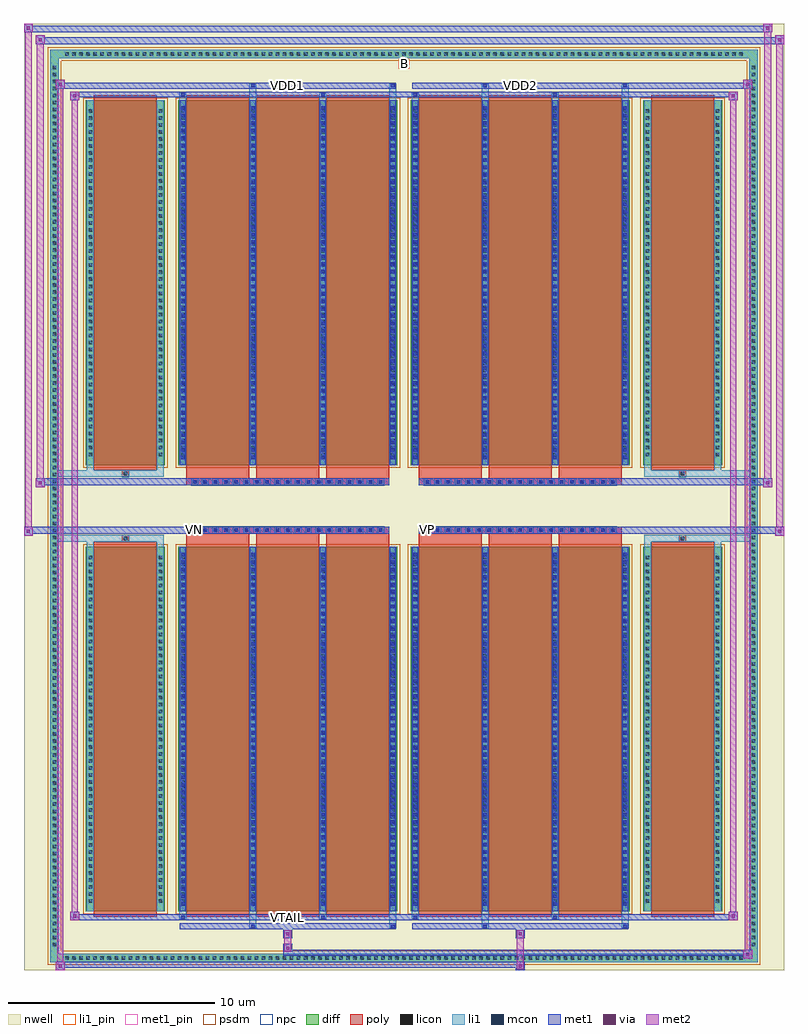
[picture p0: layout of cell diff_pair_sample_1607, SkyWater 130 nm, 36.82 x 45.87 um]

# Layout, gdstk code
import gdstk
lib = gdstk.Library(unit=1e-6, precision=5e-09)
def R(c, l, rs):  # rectangles x0, y0, x1, y1
    for r in rs: c.add(gdstk.rectangle(r[:2], r[2:], *l))
def A(c, l, x, y, w, h, nx, ny, dx, dy):  # array of equal rectangles
    R(c, l, [(x+i*dx, y+j*dy, x+i*dx+w, y+j*dy+h) for i in range(nx) for j in range(ny)])
def P(c, l, *ps):  # polygons
    for p in ps: c.add(gdstk.Polygon(p, *l))
nwell = (64, 20)
diff = (65, 20)
poly = (66, 20)
licon = (66, 44)
li1_pin = (67, 16)
li1 = (67, 20)
mcon = (67, 44)
met1_pin = (68, 16)
met1 = (68, 20)
via = (68, 44)
met2 = (69, 20)
psdm = (94, 20)
npc = (95, 20)

diff_pair_sample_1607 = lib.new_cell('diff_pair_sample_1607')
R(diff_pair_sample_1607, nwell, [(-18.41,-22.5,18.41,23.37), (-15.73,-20.69,-0.01,-0.805), (0.01,-20.69,15.73,-0.805), (-15.73,0.805,-0.01,20.69), (0.01,0.805,15.73,20.69)])
A(diff_pair_sample_1607, diff, -16.525, -22.1, 0.41, 0.41, 97, 2, 0.34, 43.79)
A(diff_pair_sample_1607, diff, -17.14, -21.455, 0.41, 0.41, 1, 126, 0, 0.34)
A(diff_pair_sample_1607, diff, 16.73, -21.455, 0.41, 0.41, 1, 126, 0, 0.34)
R(diff_pair_sample_1607, diff, [(-16.525,-22.1,16.525,-21.69), (-17.14,-21.455,-16.73,21.455), (16.73,-21.455,17.14,21.455), (-15.42,-19.645,-11.58,-1.985), (-10.94,-19.645,-0.32,-1.985), (0.32,-19.645,10.94,-1.985), (11.58,-19.645,15.42,-1.985), (-15.42,1.985,-11.58,19.645), (-10.94,1.985,-0.32,19.645), (0.32,1.985,10.94,19.645), (11.58,1.985,15.42,19.645), (-16.525,21.69,16.525,22.1)])
P(diff_pair_sample_1607, diff, [(17.14,22.1),(-17.14,22.1),(-17.14,-21.69),(-16.73,-21.69),(-16.73,21.69),(16.73,21.69),(16.73,-21.69),(-16.73,-21.69),(-17.14,-21.69),(-17.14,-22.1),(17.14,-22.1)])
A(diff_pair_sample_1607, poly, -10.55, -19.895, 3.06, 18.16, 3, 2, 3.39, 21.63)
A(diff_pair_sample_1607, poly, 0.71, -19.895, 3.06, 18.16, 3, 2, 3.39, 21.63)
A(diff_pair_sample_1607, poly, -10.55, -1.735, 3.06, 0.4, 3, 2, 3.39, 3.07)
A(diff_pair_sample_1607, poly, 0.71, -1.735, 3.06, 0.4, 3, 2, 3.39, 3.07)
A(diff_pair_sample_1607, poly, -10.295, -1.335, 0.33, 0.33, 19, 2, 0.5, 2.34)
A(diff_pair_sample_1607, poly, 0.965, -1.335, 0.33, 0.33, 19, 2, 0.5, 2.34)
R(diff_pair_sample_1607, poly, [(-15.03,-19.895,-11.97,-1.735), (11.97,-19.895,15.03,-1.735), (-13.665,-1.735,-13.335,-1.405), (-13.665,-1.735,-13.335,-1.405), (13.335,-1.735,13.665,-1.405), (13.335,-1.735,13.665,-1.405), (-10.55,-1.335,-0.71,-1.005), (0.71,-1.335,10.55,-1.005), (-10.55,1.005,-0.71,1.335), (0.71,1.005,10.55,1.335), (-13.665,1.405,-13.335,1.735), (-13.665,1.405,-13.335,1.735), (13.335,1.405,13.665,1.735), (13.335,1.405,13.665,1.735), (-15.03,1.735,-11.97,19.895), (11.97,1.735,15.03,19.895)])
A(diff_pair_sample_1607, licon, -16.405, -21.98, 0.17, 0.17, 97, 2, 0.34, 43.79)
A(diff_pair_sample_1607, licon, -17.02, -21.335, 0.17, 0.17, 1, 126, 0, 0.34)
A(diff_pair_sample_1607, licon, 16.85, -21.335, 0.17, 0.17, 1, 126, 0, 0.34)
A(diff_pair_sample_1607, licon, -15.28, -19.23, 0.17, 0.17, 1, 50, 0, 0.34)
A(diff_pair_sample_1607, licon, -11.89, -19.23, 0.17, 0.17, 1, 50, 0, 0.34)
A(diff_pair_sample_1607, licon, -10.8, -19.23, 0.17, 0.17, 4, 50, 3.39, 0.34)
A(diff_pair_sample_1607, licon, 0.46, -19.23, 0.17, 0.17, 4, 50, 3.39, 0.34)
A(diff_pair_sample_1607, licon, 11.72, -19.23, 0.17, 0.17, 1, 50, 0, 0.34)
A(diff_pair_sample_1607, licon, 15.11, -19.23, 0.17, 0.17, 1, 50, 0, 0.34)
A(diff_pair_sample_1607, licon, -10.215, -1.255, 0.17, 0.17, 19, 2, 0.5, 2.34)
A(diff_pair_sample_1607, licon, 1.045, -1.255, 0.17, 0.17, 19, 2, 0.5, 2.34)
A(diff_pair_sample_1607, licon, -15.28, 2.4, 0.17, 0.17, 1, 50, 0, 0.34)
A(diff_pair_sample_1607, licon, -11.89, 2.4, 0.17, 0.17, 1, 50, 0, 0.34)
A(diff_pair_sample_1607, licon, -10.8, 2.4, 0.17, 0.17, 4, 50, 3.39, 0.34)
A(diff_pair_sample_1607, licon, 0.46, 2.4, 0.17, 0.17, 4, 50, 3.39, 0.34)
A(diff_pair_sample_1607, licon, 11.72, 2.4, 0.17, 0.17, 1, 50, 0, 0.34)
A(diff_pair_sample_1607, licon, 15.11, 2.4, 0.17, 0.17, 1, 50, 0, 0.34)
R(diff_pair_sample_1607, licon, [(-13.585,-1.655,-13.415,-1.485), (13.415,-1.655,13.585,-1.485), (-13.585,1.485,-13.415,1.655), (13.415,1.485,13.585,1.655)])
R(diff_pair_sample_1607, li1_pin, [(-0.25,21.19,0.25,21.69)])
A(diff_pair_sample_1607, li1, -16.485, -22.06, 0.33, 0.33, 97, 2, 0.34, 43.79)
A(diff_pair_sample_1607, li1, -17.1, -21.415, 0.33, 0.33, 1, 126, 0, 0.34)
A(diff_pair_sample_1607, li1, 16.77, -21.415, 0.33, 0.33, 1, 126, 0, 0.34)
A(diff_pair_sample_1607, li1, -10.88, -19.645, 0.33, 17.66, 4, 2, 3.39, 21.63)
A(diff_pair_sample_1607, li1, 0.38, -19.645, 0.33, 17.66, 4, 2, 3.39, 21.63)
A(diff_pair_sample_1607, li1, -10.8, -19.36, 0.17, 0.17, 4, 48, 3.39, 0.36)
A(diff_pair_sample_1607, li1, -10.8, -19.36, 0.17, 17.09, 4, 2, 3.39, 21.63)
A(diff_pair_sample_1607, li1, 0.46, -19.36, 0.17, 0.17, 4, 48, 3.39, 0.36)
A(diff_pair_sample_1607, li1, 0.46, -19.36, 0.17, 17.09, 4, 2, 3.39, 21.63)
A(diff_pair_sample_1607, li1, -15.36, -19.31, 0.33, 0.33, 1, 50, 0, 0.34)
A(diff_pair_sample_1607, li1, -11.97, -19.31, 0.33, 0.33, 1, 50, 0, 0.34)
A(diff_pair_sample_1607, li1, -10.88, -19.31, 0.33, 0.33, 4, 50, 3.39, 0.34)
A(diff_pair_sample_1607, li1, 0.38, -19.31, 0.33, 0.33, 4, 50, 3.39, 0.34)
A(diff_pair_sample_1607, li1, 11.64, -19.31, 0.33, 0.33, 1, 50, 0, 0.34)
A(diff_pair_sample_1607, li1, 15.03, -19.31, 0.33, 0.33, 1, 50, 0, 0.34)
A(diff_pair_sample_1607, li1, -10.295, -1.335, 0.33, 0.33, 19, 2, 0.5, 2.34)
A(diff_pair_sample_1607, li1, 0.965, -1.335, 0.33, 0.33, 19, 2, 0.5, 2.34)
A(diff_pair_sample_1607, li1, -10.8, 2.27, 0.17, 0.17, 4, 48, 3.39, 0.36)
A(diff_pair_sample_1607, li1, 0.46, 2.27, 0.17, 0.17, 4, 48, 3.39, 0.36)
A(diff_pair_sample_1607, li1, -15.36, 2.32, 0.33, 0.33, 1, 50, 0, 0.34)
A(diff_pair_sample_1607, li1, -11.97, 2.32, 0.33, 0.33, 1, 50, 0, 0.34)
A(diff_pair_sample_1607, li1, -10.88, 2.32, 0.33, 0.33, 4, 50, 3.39, 0.34)
A(diff_pair_sample_1607, li1, 0.38, 2.32, 0.33, 0.33, 4, 50, 3.39, 0.34)
A(diff_pair_sample_1607, li1, 11.64, 2.32, 0.33, 0.33, 1, 50, 0, 0.34)
A(diff_pair_sample_1607, li1, 15.03, 2.32, 0.33, 0.33, 1, 50, 0, 0.34)
R(diff_pair_sample_1607, li1, [(-17.14,-22.1,-16.73,-21.69), (-17.14,-22.1,-16.73,-21.69), (-16.73,-22.1,16.73,-21.69), (16.73,-22.1,17.14,-21.69), (16.73,-22.1,17.14,-21.69), (-17.14,-21.69,-16.73,21.69), (16.73,-21.69,17.14,21.69), (-7.49,-20.45,-7.16,-19.645), (-7.41,-20.45,-7.24,-20.28), (-0.71,-20.45,-0.38,-19.645), (-0.63,-20.45,-0.46,-20.28), (3.77,-20.45,4.1,-19.645), (3.85,-20.45,4.02,-20.28), (10.55,-20.45,10.88,-19.645), (10.63,-20.45,10.8,-20.28), (-10.88,-20.02,-10.55,-19.645), (-10.8,-20.02,-10.63,-19.85), (-4.1,-20.02,-3.77,-19.645), (-4.02,-20.02,-3.85,-19.85), (0.38,-20.02,0.71,-19.645), (0.46,-20.02,0.63,-19.85), (7.16,-20.02,7.49,-19.645), (7.24,-20.02,7.41,-19.85), (-15.36,-19.645,-15.03,-1.985), (-11.97,-19.645,-11.64,-1.985), (11.64,-19.645,11.97,-1.985), (15.03,-19.645,15.36,-1.985), (-15.36,-1.985,-15.03,-1.405), (-11.97,-1.985,-11.64,-1.405), (11.64,-1.985,11.97,-1.405), (15.03,-1.985,15.36,-1.405), (-17.14,-1.735,-13.665,-1.405), (-15.36,-1.735,-13.665,-1.405), (-13.665,-1.735,-13.335,-1.405), (-13.335,-1.735,-11.64,-1.405), (11.64,-1.735,13.335,-1.405), (13.335,-1.735,13.665,-1.405), (13.335,-1.735,17.14,-1.405), (13.665,-1.735,15.36,-1.405), (-17.14,1.405,-13.665,1.735), (-15.36,1.405,-13.665,1.735), (-15.36,1.405,-15.03,1.985), (-13.665,1.405,-13.335,1.735), (-13.335,1.405,-11.64,1.735), (-11.97,1.405,-11.64,1.985), (11.64,1.405,13.335,1.735), (11.64,1.405,11.97,1.985), (13.335,1.405,13.665,1.735), (13.335,1.405,17.14,1.735), (13.665,1.405,15.36,1.735), (15.03,1.405,15.36,1.985), (-15.36,1.985,-15.03,19.645), (-11.97,1.985,-11.64,19.645), (11.64,1.985,11.97,19.645), (15.03,1.985,15.36,19.645), (-10.88,19.645,-10.55,20.02), (-7.49,19.645,-7.16,20.45), (-4.1,19.645,-3.77,20.02), (-0.71,19.645,-0.38,20.45), (0.38,19.645,0.71,20.02), (3.77,19.645,4.1,20.45), (7.16,19.645,7.49,20.02), (10.55,19.645,10.88,20.45), (-10.8,19.85,-10.63,20.02), (-4.02,19.85,-3.85,20.02), (0.46,19.85,0.63,20.02), (7.24,19.85,7.41,20.02), (-7.41,20.28,-7.24,20.45), (-0.63,20.28,-0.46,20.45), (3.85,20.28,4.02,20.45), (10.63,20.28,10.8,20.45), (-17.14,21.69,-16.73,22.1), (-17.14,21.69,-16.73,22.1), (-16.73,21.69,16.73,22.1), (16.73,21.69,17.14,22.1), (16.73,21.69,17.14,22.1)])
A(diff_pair_sample_1607, mcon, -10.8, -19.36, 0.17, 0.17, 4, 48, 3.39, 0.36)
A(diff_pair_sample_1607, mcon, 0.46, -19.36, 0.17, 0.17, 4, 48, 3.39, 0.36)
A(diff_pair_sample_1607, mcon, -10.215, -1.255, 0.17, 0.17, 19, 2, 0.5, 2.34)
A(diff_pair_sample_1607, mcon, 1.045, -1.255, 0.17, 0.17, 19, 2, 0.5, 2.34)
A(diff_pair_sample_1607, mcon, -10.8, 2.27, 0.17, 0.17, 4, 48, 3.39, 0.36)
A(diff_pair_sample_1607, mcon, 0.46, 2.27, 0.17, 0.17, 4, 48, 3.39, 0.36)
R(diff_pair_sample_1607, mcon, [(-7.41,-20.45,-7.24,-20.28), (-0.63,-20.45,-0.46,-20.28), (3.85,-20.45,4.02,-20.28), (10.63,-20.45,10.8,-20.28), (-10.8,-20.02,-10.63,-19.85), (-4.02,-20.02,-3.85,-19.85), (0.46,-20.02,0.63,-19.85), (7.24,-20.02,7.41,-19.85), (-10.8,19.85,-10.63,20.02), (-4.02,19.85,-3.85,20.02), (0.46,19.85,0.63,20.02), (7.24,19.85,7.41,20.02), (-7.41,20.28,-7.24,20.45), (-0.63,20.28,-0.46,20.45), (3.85,20.28,4.02,20.45), (10.63,20.28,10.8,20.45)])
R(diff_pair_sample_1607, met1_pin, [(-5.765,-20.06,-5.495,-19.79), (-10.265,-1.295,-9.995,-1.025), (0.995,-1.295,1.265,-1.025), (-5.765,20.24,-5.495,20.51), (5.495,20.24,5.765,20.51)])
A(diff_pair_sample_1607, met1, -10.86, -19.645, 0.29, 17.66, 4, 2, 3.39, 21.63)
A(diff_pair_sample_1607, met1, 0.4, -19.645, 0.29, 17.66, 4, 2, 3.39, 21.63)
A(diff_pair_sample_1607, met1, -10.86, -19.42, 0.29, 0.29, 4, 48, 3.39, 0.36)
A(diff_pair_sample_1607, met1, 0.4, -19.42, 0.29, 0.29, 4, 48, 3.39, 0.36)
A(diff_pair_sample_1607, met1, -10.275, -1.315, 0.29, 0.29, 19, 2, 0.5, 2.34)
A(diff_pair_sample_1607, met1, 0.985, -1.315, 0.29, 0.29, 19, 2, 0.5, 2.34)
A(diff_pair_sample_1607, met1, -10.86, 2.21, 0.29, 0.29, 4, 48, 3.39, 0.36)
A(diff_pair_sample_1607, met1, 0.4, 2.21, 0.29, 0.29, 4, 48, 3.39, 0.36)
R(diff_pair_sample_1607, met1, [(-16.87,-22.5,-16.44,-22.07), (5.415,-22.5,5.845,-22.07), (-16.87,-22.36,5.845,-22.07), (16.44,-21.93,16.87,-21.5), (-5.845,-21.79,16.87,-21.5), (-5.845,-21.65,-5.415,-21.22), (-5.845,-20.94,-5.415,-20.51), (5.415,-20.94,5.845,-20.51), (-10.86,-20.51,-0.4,-20.22), (-7.47,-20.51,-7.18,-20.22), (-0.69,-20.51,-0.4,-20.22), (0.4,-20.51,10.86,-20.22), (3.79,-20.51,4.08,-20.22), (10.57,-20.51,10.86,-20.22), (-16.16,-20.08,-15.73,-19.65), (-16.16,-20.08,-10.86,-19.79), (-10.86,-20.08,-10.57,-19.79), (-10.86,-20.08,-0.4,-19.79), (-4.08,-20.08,-3.79,-19.79), (-0.4,-20.08,0.4,-19.79), (0.4,-20.08,0.69,-19.79), (0.4,-20.08,10.86,-19.79), (7.18,-20.08,7.47,-19.79), (10.86,-20.08,16.16,-19.79), (15.73,-20.08,16.16,-19.65), (-18.41,-1.435,-17.98,-1.005), (17.98,-1.435,18.41,-1.005), (-18.41,-1.335,-0.71,-1.005), (-10.55,-1.335,-0.71,-1.005), (0.71,-1.335,10.55,-1.005), (0.71,-1.335,18.41,-1.005), (-17.84,0.905,-17.41,1.335), (17.41,0.905,17.84,1.335), (-17.84,1.005,-10.55,1.335), (-10.55,1.005,-0.71,1.335), (0.71,1.005,10.55,1.335), (10.55,1.005,17.84,1.335), (-16.16,19.65,-15.73,20.08), (15.73,19.65,16.16,20.08), (-16.16,19.79,-10.86,20.08), (-10.86,19.79,-10.57,20.08), (-10.86,19.79,-0.4,20.08), (-4.08,19.79,-3.79,20.08), (-0.4,19.79,0.4,20.08), (0.4,19.79,0.69,20.08), (0.4,19.79,10.86,20.08), (7.18,19.79,7.47,20.08), (10.86,19.79,16.16,20.08), (-16.87,20.22,-16.44,20.65), (-16.87,20.22,-10.86,20.51), (-10.86,20.22,-0.4,20.51), (-7.47,20.22,-7.18,20.51), (-0.69,20.22,-0.4,20.51), (0.4,20.22,10.86,20.51), (3.79,20.22,4.08,20.51), (10.57,20.22,10.86,20.51), (10.86,20.22,16.87,20.51), (16.44,20.22,16.87,20.65), (-17.84,22.37,-17.41,22.8), (-17.84,22.37,-15.73,22.7), (-15.73,22.37,15.73,22.7), (15.73,22.37,18.41,22.7), (17.98,22.37,18.41,22.8), (-18.41,22.94,-17.98,23.37), (-18.41,22.94,-15.73,23.27), (-15.73,22.94,15.73,23.27), (15.73,22.94,17.84,23.27), (17.41,22.94,17.84,23.37)])
R(diff_pair_sample_1607, via, [(-16.73,-22.36,-16.58,-22.21), (5.555,-22.36,5.705,-22.21), (16.58,-21.79,16.73,-21.64), (-5.705,-21.51,-5.555,-21.36), (-5.705,-20.8,-5.555,-20.65), (5.555,-20.8,5.705,-20.65), (-16.02,-19.94,-15.87,-19.79), (15.87,-19.94,16.02,-19.79), (-18.27,-1.295,-18.12,-1.145), (18.12,-1.295,18.27,-1.145), (-17.7,1.045,-17.55,1.195), (17.55,1.045,17.7,1.195), (-16.02,19.79,-15.87,19.94), (15.87,19.79,16.02,19.94), (-16.73,20.36,-16.58,20.51), (16.58,20.36,16.73,20.51), (-17.7,22.51,-17.55,22.66), (18.12,22.51,18.27,22.66), (-18.27,23.08,-18.12,23.23), (17.55,23.08,17.7,23.23)])
R(diff_pair_sample_1607, met2, [(-16.87,-22.5,-16.44,-22.07), (-16.8,-22.5,-16.51,20.65), (-16.51,-22.5,-16.44,-22.07), (-16.82,-22.45,-16.49,-22.12), (5.465,-22.45,5.795,-22.12), (5.465,-22.12,5.795,-20.89), (16.44,-21.93,16.87,-21.5), (16.51,-21.93,16.8,20.65), (16.8,-21.93,16.87,-21.5), (16.49,-21.88,16.82,-21.55), (-5.795,-21.6,-5.465,-21.27), (-5.795,-21.27,-5.465,-20.89), (-5.795,-20.89,-5.465,-20.56), (5.465,-20.89,5.795,-20.56), (-16.16,-20.08,-15.73,-19.65), (-16.09,-20.08,-15.8,20.08), (-15.8,-20.08,-15.73,-19.65), (15.73,-20.08,16.16,-19.65), (15.8,-20.08,16.09,20.08), (16.09,-20.08,16.16,-19.65), (-16.11,-20.03,-15.78,-19.7), (15.78,-20.03,16.11,-19.7), (-18.41,-1.435,-17.98,-1.005), (-18.36,-1.435,-18.03,23.37), (-18.03,-1.435,-17.98,-1.005), (17.98,-1.435,18.41,-1.005), (18.03,-1.435,18.36,22.8), (18.36,-1.435,18.41,-1.005), (-18.36,-1.385,-18.03,-1.055), (18.03,-1.385,18.36,-1.055), (-17.84,0.905,-17.41,1.335), (-17.79,0.905,-17.46,22.8), (-17.46,0.905,-17.41,1.335), (17.41,0.905,17.84,1.335), (17.46,0.905,17.79,23.37), (17.79,0.905,17.84,1.335), (-17.79,0.955,-17.46,1.285), (17.46,0.955,17.79,1.285), (-16.16,19.65,-15.73,20.08), (-15.8,19.65,-15.73,20.08), (15.73,19.65,16.16,20.08), (16.09,19.65,16.16,20.08), (-16.11,19.7,-15.78,20.03), (15.78,19.7,16.11,20.03), (-16.87,20.22,-16.44,20.65), (-16.51,20.22,-16.44,20.65), (16.44,20.22,16.87,20.65), (16.8,20.22,16.87,20.65), (-16.82,20.27,-16.49,20.6), (16.49,20.27,16.82,20.6), (-17.84,22.37,-17.41,22.8), (-17.46,22.37,-17.41,22.8), (17.98,22.37,18.41,22.8), (18.36,22.37,18.41,22.8), (-17.79,22.42,-17.46,22.75), (18.03,22.42,18.36,22.75), (-18.41,22.94,-17.98,23.37), (-18.03,22.94,-17.98,23.37), (17.41,22.94,17.84,23.37), (17.79,22.94,17.84,23.37), (-18.36,22.99,-18.03,23.32), (17.46,22.99,17.79,23.32)])
R(diff_pair_sample_1607, psdm, [(-15.55,-19.775,-11.45,-1.855), (-11.07,-19.775,-0.19,-1.855), (0.19,-19.775,11.07,-1.855), (11.45,-19.775,15.55,-1.855), (-15.55,1.855,-11.45,19.775), (-11.07,1.855,-0.19,19.775), (0.19,1.855,11.07,19.775), (11.45,1.855,15.55,19.775)])
P(diff_pair_sample_1607, psdm, [(17.27,22.23),(-17.27,22.23),(-17.27,-21.56),(-16.6,-21.56),(-16.6,21.56),(16.6,21.56),(16.6,-21.56),(-16.6,-21.56),(-17.27,-21.56),(-17.27,-22.23),(17.27,-22.23)])
A(diff_pair_sample_1607, npc, -10.315, -1.355, 0.37, 0.37, 19, 2, 0.5, 2.34)
A(diff_pair_sample_1607, npc, 0.945, -1.355, 0.37, 0.37, 19, 2, 0.5, 2.34)
R(diff_pair_sample_1607, npc, [(-13.685,-1.755,-13.315,-1.385), (13.315,-1.755,13.685,-1.385), (-10.315,-1.355,-9.445,-0.985), (-10.315,-1.355,-9.445,-0.985), (-9.815,-1.355,-8.945,-0.985), (-9.815,-1.355,-8.945,-0.985), (-9.315,-1.355,-8.445,-0.985), (-9.315,-1.355,-8.445,-0.985), (-8.815,-1.355,-7.945,-0.985), (-8.815,-1.355,-7.945,-0.985), (-8.315,-1.355,-7.445,-0.985), (-8.315,-1.355,-7.445,-0.985), (-7.815,-1.355,-6.945,-0.985), (-7.815,-1.355,-6.945,-0.985), (-7.315,-1.355,-6.445,-0.985), (-7.315,-1.355,-6.445,-0.985), (-6.815,-1.355,-5.945,-0.985), (-6.815,-1.355,-5.945,-0.985), (-6.315,-1.355,-5.445,-0.985), (-6.315,-1.355,-5.445,-0.985), (-5.815,-1.355,-4.945,-0.985), (-5.815,-1.355,-4.945,-0.985), (-5.315,-1.355,-4.445,-0.985), (-5.315,-1.355,-4.445,-0.985), (-4.815,-1.355,-3.945,-0.985), (-4.815,-1.355,-3.945,-0.985), (-4.315,-1.355,-3.445,-0.985), (-4.315,-1.355,-3.445,-0.985), (-3.815,-1.355,-2.945,-0.985), (-3.815,-1.355,-2.945,-0.985), (-3.315,-1.355,-2.445,-0.985), (-3.315,-1.355,-2.445,-0.985), (-2.815,-1.355,-1.945,-0.985), (-2.815,-1.355,-1.945,-0.985), (-2.315,-1.355,-1.445,-0.985), (-2.315,-1.355,-1.445,-0.985), (-1.815,-1.355,-0.945,-0.985), (-1.815,-1.355,-0.945,-0.985), (0.945,-1.355,1.815,-0.985), (0.945,-1.355,1.815,-0.985), (1.445,-1.355,2.315,-0.985), (1.445,-1.355,2.315,-0.985), (1.945,-1.355,2.815,-0.985), (1.945,-1.355,2.815,-0.985), (2.445,-1.355,3.315,-0.985), (2.445,-1.355,3.315,-0.985), (2.945,-1.355,3.815,-0.985), (2.945,-1.355,3.815,-0.985), (3.445,-1.355,4.315,-0.985), (3.445,-1.355,4.315,-0.985), (3.945,-1.355,4.815,-0.985), (3.945,-1.355,4.815,-0.985), (4.445,-1.355,5.315,-0.985), (4.445,-1.355,5.315,-0.985), (4.945,-1.355,5.815,-0.985), (4.945,-1.355,5.815,-0.985), (5.445,-1.355,6.315,-0.985), (5.445,-1.355,6.315,-0.985), (5.945,-1.355,6.815,-0.985), (5.945,-1.355,6.815,-0.985), (6.445,-1.355,7.315,-0.985), (6.445,-1.355,7.315,-0.985), (6.945,-1.355,7.815,-0.985), (6.945,-1.355,7.815,-0.985), (7.445,-1.355,8.315,-0.985), (7.445,-1.355,8.315,-0.985), (7.945,-1.355,8.815,-0.985), (7.945,-1.355,8.815,-0.985), (8.445,-1.355,9.315,-0.985), (8.445,-1.355,9.315,-0.985), (8.945,-1.355,9.815,-0.985), (8.945,-1.355,9.815,-0.985), (9.445,-1.355,10.315,-0.985), (9.445,-1.355,10.315,-0.985), (-10.315,0.985,-9.445,1.355), (-10.315,0.985,-9.445,1.355), (-9.815,0.985,-8.945,1.355), (-9.815,0.985,-8.945,1.355), (-9.315,0.985,-8.445,1.355), (-9.315,0.985,-8.445,1.355), (-8.815,0.985,-7.945,1.355), (-8.815,0.985,-7.945,1.355), (-8.315,0.985,-7.445,1.355), (-8.315,0.985,-7.445,1.355), (-7.815,0.985,-6.945,1.355), (-7.815,0.985,-6.945,1.355), (-7.315,0.985,-6.445,1.355), (-7.315,0.985,-6.445,1.355), (-6.815,0.985,-5.945,1.355), (-6.815,0.985,-5.945,1.355), (-6.315,0.985,-5.445,1.355), (-6.315,0.985,-5.445,1.355), (-5.815,0.985,-4.945,1.355), (-5.815,0.985,-4.945,1.355), (-5.315,0.985,-4.445,1.355), (-5.315,0.985,-4.445,1.355), (-4.815,0.985,-3.945,1.355), (-4.815,0.985,-3.945,1.355), (-4.315,0.985,-3.445,1.355), (-4.315,0.985,-3.445,1.355), (-3.815,0.985,-2.945,1.355), (-3.815,0.985,-2.945,1.355), (-3.315,0.985,-2.445,1.355), (-3.315,0.985,-2.445,1.355), (-2.815,0.985,-1.945,1.355), (-2.815,0.985,-1.945,1.355), (-2.315,0.985,-1.445,1.355), (-2.315,0.985,-1.445,1.355), (-1.815,0.985,-0.945,1.355), (-1.815,0.985,-0.945,1.355), (0.945,0.985,1.815,1.355), (0.945,0.985,1.815,1.355), (1.445,0.985,2.315,1.355), (1.445,0.985,2.315,1.355), (1.945,0.985,2.815,1.355), (1.945,0.985,2.815,1.355), (2.445,0.985,3.315,1.355), (2.445,0.985,3.315,1.355), (2.945,0.985,3.815,1.355), (2.945,0.985,3.815,1.355), (3.445,0.985,4.315,1.355), (3.445,0.985,4.315,1.355), (3.945,0.985,4.815,1.355), (3.945,0.985,4.815,1.355), (4.445,0.985,5.315,1.355), (4.445,0.985,5.315,1.355), (4.945,0.985,5.815,1.355), (4.945,0.985,5.815,1.355), (5.445,0.985,6.315,1.355), (5.445,0.985,6.315,1.355), (5.945,0.985,6.815,1.355), (5.945,0.985,6.815,1.355), (6.445,0.985,7.315,1.355), (6.445,0.985,7.315,1.355), (6.945,0.985,7.815,1.355), (6.945,0.985,7.815,1.355), (7.445,0.985,8.315,1.355), (7.445,0.985,8.315,1.355), (7.945,0.985,8.815,1.355), (7.945,0.985,8.815,1.355), (8.445,0.985,9.315,1.355), (8.445,0.985,9.315,1.355), (8.945,0.985,9.815,1.355), (8.945,0.985,9.815,1.355), (9.445,0.985,10.315,1.355), (9.445,0.985,10.315,1.355), (-13.685,1.385,-13.315,1.755), (13.315,1.385,13.685,1.755)])
diff_pair_sample_1607.add(gdstk.Label('VTAIL', (-5.63,-19.925), layer=68, texttype=5))
diff_pair_sample_1607.add(gdstk.Label('VN', (-10.13,-1.16), layer=68, texttype=5))
diff_pair_sample_1607.add(gdstk.Label('VP', (1.13,-1.16), layer=68, texttype=5))
diff_pair_sample_1607.add(gdstk.Label('B', (0,21.44), layer=67, texttype=5))
diff_pair_sample_1607.add(gdstk.Label('VDD2', (5.63,20.375), layer=68, texttype=5))
diff_pair_sample_1607.add(gdstk.Label('VDD1', (-5.63,20.375), layer=68, texttype=5))

lib.write_gds('diff_pair_sample_1607.gds')
